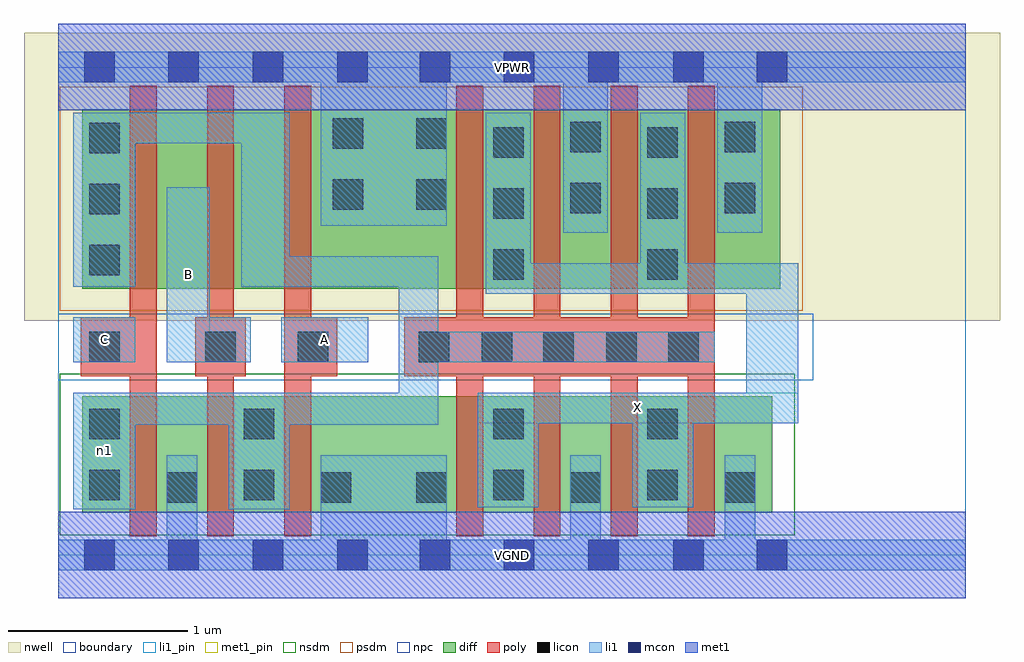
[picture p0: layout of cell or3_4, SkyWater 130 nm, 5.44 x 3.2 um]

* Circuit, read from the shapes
.subckt or3_4 A B C VGND VPWR X n1
XM1 VGND C n1 VSUBS sky130_fd_pr__nfet_01v8 w=0.65 l=0.15
XM2 n1 B VGND VSUBS sky130_fd_pr__nfet_01v8 w=0.65 l=0.15
XM3 VGND A n1 VSUBS sky130_fd_pr__nfet_01v8 w=0.65 l=0.15
XM4 X n1 VGND VSUBS sky130_fd_pr__nfet_01v8 w=0.65 l=0.15 m=4
XM5 n2 C n1 n3 sky130_fd_pr__pfet_01v8 w=1 l=0.15
XM6 n4 B n2 n3 sky130_fd_pr__pfet_01v8 w=1 l=0.15
XM7 VPWR A n4 n3 sky130_fd_pr__pfet_01v8 w=1 l=0.15
XM8 X n1 VPWR n3 sky130_fd_pr__pfet_01v8 w=1 l=0.15 m=4
.ends

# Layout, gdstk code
import gdstk
lib = gdstk.Library(unit=1e-6, precision=1e-09)
def R(c, l, rs):  # rectangles x0, y0, x1, y1
    for r in rs: c.add(gdstk.rectangle(r[:2], r[2:], *l))
def A(c, l, x, y, w, h, nx, ny, dx, dy):  # array of equal rectangles
    R(c, l, [(x+i*dx, y+j*dy, x+i*dx+w, y+j*dy+h) for i in range(nx) for j in range(ny)])
nwell = (64, 20)
diff = (65, 20)
poly = (66, 20)
licon = (66, 44)
li1_pin = (67, 16)
li1 = (67, 20)
mcon = (67, 44)
met1_pin = (68, 16)
met1 = (68, 20)
nsdm = (93, 44)
psdm = (94, 20)
npc = (95, 20)
boundary = (235, 4)

or3_4 = lib.new_cell('or3_4')
R(or3_4, nwell, [(-0.19,1.305,5.25,2.91), (0,1.305,5.06,2.91)])
R(or3_4, diff, [(0.135,0.235,3.98,0.885), (0.135,1.485,4.025,2.485)])
A(or3_4, poly, 0.4, 0.105, 0.15, 2.51, 3, 1, 0.43, 0)
A(or3_4, poly, 2.22, 0.105, 0.15, 2.51, 4, 1, 0.43, 0)
R(or3_4, poly, [(0.125,0.995,0.55,1.325), (0.765,0.995,1.045,1.325), (1.26,0.995,1.555,1.325), (1.93,0.995,3.66,1.325)])
A(or3_4, licon, 1.995, 0.29, 0.17, 0.17, 3, 1, 0.86, 0)
A(or3_4, licon, 2.425, 1.535, 0.17, 0.17, 1, 3, 0, 0.34)
A(or3_4, licon, 3.285, 1.535, 0.17, 0.17, 1, 3, 0, 0.34)
A(or3_4, licon, 0.175, 1.56, 0.17, 0.17, 1, 3, 0, 0.34)
R(or3_4, licon, [(0.605,0.29,0.775,0.46), (1.465,0.29,1.635,0.46), (0.175,0.305,0.345,0.475), (1.035,0.305,1.205,0.475), (2.425,0.305,2.595,0.475), (3.285,0.305,3.455,0.475), (0.175,0.645,0.345,0.815), (1.035,0.645,1.205,0.815), (2.425,0.645,2.595,0.815), (3.285,0.645,3.455,0.815), (0.175,1.075,0.345,1.245), (0.82,1.075,0.99,1.245), (1.335,1.075,1.505,1.245), (2.01,1.075,2.18,1.245), (2.36,1.075,2.53,1.245), (2.705,1.075,2.875,1.245), (3.055,1.075,3.225,1.245), (3.4,1.075,3.57,1.245), (2.855,1.905,3.025,2.075), (3.715,1.905,3.885,2.075), (1.53,1.925,1.7,2.095), (1.995,1.925,2.165,2.095), (2.855,2.245,3.025,2.415), (3.715,2.245,3.885,2.415), (1.53,2.265,1.7,2.435), (1.995,2.265,2.165,2.435)])
R(or3_4, li1_pin, [(2.34,0.735,4.125,0.905), (0.085,1.075,0.43,1.325), (0.605,1.075,0.845,2.05), (1.245,1.075,1.73,1.325)])
R(or3_4, li1, [(0,-0.085,5.06,0.085), (0.605,-0.085,0.775,0.555), (1.465,-0.085,2.165,0.555), (2.855,-0.085,3.025,0.555), (3.715,-0.085,3.885,0.555), (0.085,0.255,0.43,0.905), (0.95,0.255,1.29,0.905), (2.34,0.265,2.68,0.905), (3.2,0.265,3.54,0.905), (0.085,0.725,2.12,0.905), (1.9,0.725,2.12,1.665), (2.34,0.735,4.125,0.905), (3.835,0.735,4.125,1.625), (0.085,1.075,0.43,1.325), (0.605,1.075,0.845,2.05), (0.605,1.075,1.075,1.325), (1.245,1.075,1.73,1.325), (1.9,1.075,3.66,1.245), (2.385,1.455,4.125,1.625), (2.385,1.455,2.635,2.465), (3.245,1.455,3.495,2.465), (0.085,1.495,0.43,2.465), (1.02,1.495,1.29,2.465), (1.02,1.495,2.12,1.665), (2.815,1.795,3.065,2.805), (3.675,1.795,3.925,2.805), (1.465,1.835,2.165,2.805), (0.085,2.295,1.29,2.465), (0,2.635,5.06,2.805)])
A(or3_4, mcon, 0.145, -0.085, 0.17, 0.17, 4, 2, 0.47, 2.72)
A(or3_4, mcon, 2.015, -0.085, 0.17, 0.17, 3, 2, 0.47, 2.72)
R(or3_4, mcon, [(3.43,-0.085,3.6,0.085), (3.895,-0.085,4.065,0.085), (3.43,2.635,3.6,2.805), (3.895,2.635,4.065,2.805)])
R(or3_4, met1_pin, [(0,-0.24,5.06,0.24), (0,2.48,5.06,2.96)])
R(or3_4, met1, [(0,-0.24,5.06,0.24), (0,2.48,5.06,2.96)])
R(or3_4, nsdm, [(0.01,0.11,4.105,1.01)])
R(or3_4, psdm, [(0.01,1.36,4.15,2.61)])
R(or3_4, npc, [(0,0.975,4.21,1.345)])
R(or3_4, boundary, [(0,0,5.06,2.72)])
or3_4.add(gdstk.Label('A', (1.487,1.2), layer=67, texttype=5))
or3_4.add(gdstk.Label('B', (0.725,1.562), layer=67, texttype=5))
or3_4.add(gdstk.Label('C', (0.257,1.2), layer=67, texttype=5))
or3_4.add(gdstk.Label('X', (3.232,0.82), layer=67, texttype=5))
or3_4.add(gdstk.Label('n1', (0.257,0.58), layer=67, texttype=5))
or3_4.add(gdstk.Label('VPWR', (2.53,2.72), layer=68, texttype=5))
or3_4.add(gdstk.Label('VGND', (2.53,0), layer=68, texttype=5))
or3_4.add(gdstk.Label('A', (1.487,1.2), layer=67, texttype=16))
or3_4.add(gdstk.Label('B', (0.725,1.562), layer=67, texttype=16))
or3_4.add(gdstk.Label('C', (0.257,1.2), layer=67, texttype=16))
or3_4.add(gdstk.Label('X', (3.232,0.82), layer=67, texttype=16))
or3_4.add(gdstk.Label('VPWR', (2.53,2.72), layer=68, texttype=16))
or3_4.add(gdstk.Label('VGND', (2.53,0), layer=68, texttype=16))

lib.write_gds('or3_4.gds')
